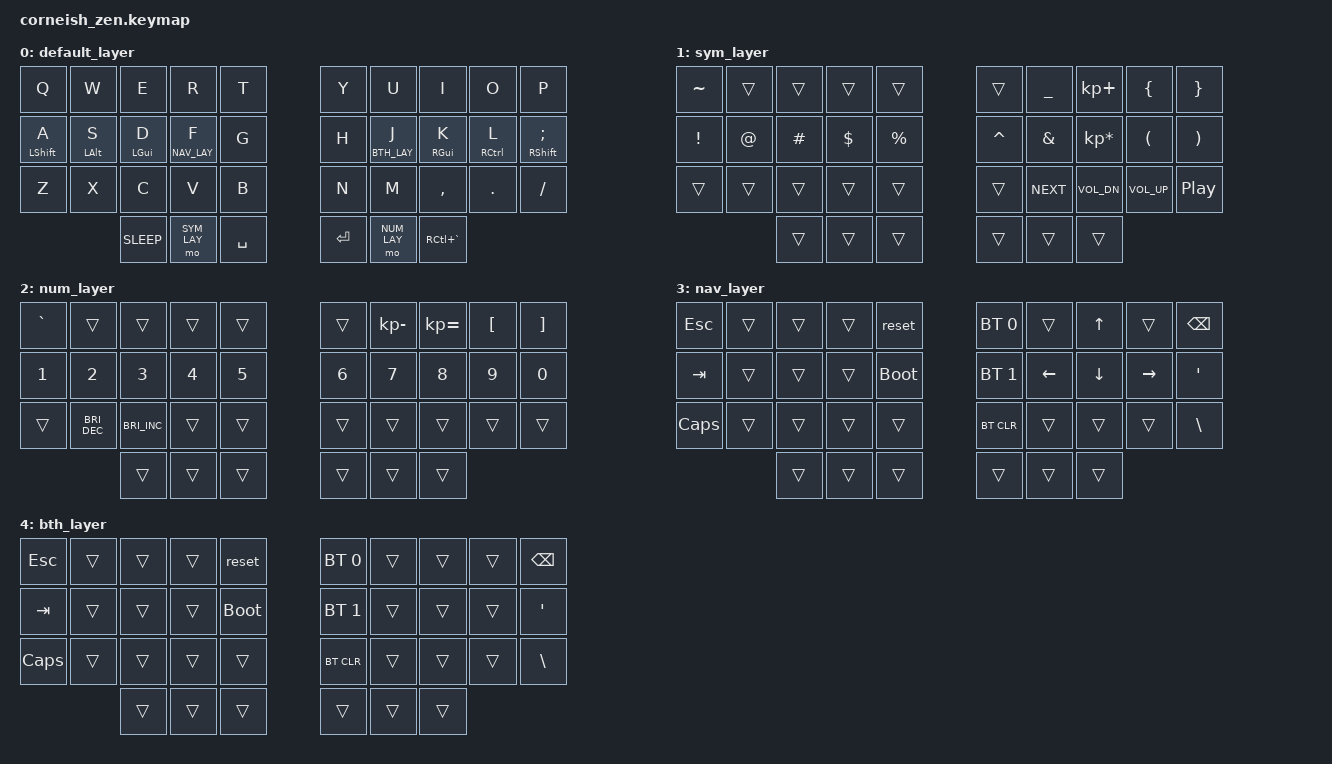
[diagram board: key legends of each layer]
#include <behaviors.dtsi>
#include <dt-bindings/zmk/keys.h>
#include <dt-bindings/zmk/bt.h>

#define SYM_LAY 1
#define NUM_LAY 2
#define NAV_LAY 3
#define BTH_LAY 4

/ {
  chosen {
    //zmk,matrix_transform = &default_transform;
    zmk,matrix_transform = &five_column_transform;
  };
};

/ {
        behaviors {
                hm: homerow_mods {
                compatible = "zmk,behavior-hold-tap";
                label = "HOMEROW_MODS";
                #binding-cells = <2>;
                tapping-term-ms = <150>;
                quick_tap_ms = <0>;
                flavor = "tap-preferred";
                bindings = <&kp>, <&kp>;
                };
        };
        keymap {
                compatible = "zmk,keymap";

                default_layer {
// ,-----------------------------.   ,-----------------------------.
// |  Q  |  W  |  E  |  R  |  T  |   |  Y  |  U  |  I  |  O  |  P  |
// |-----+-----+-----+-----+-----|   |-----+-----+-----+-----+-----|
// |  A  |  S  |  D  |  F  |  G  |   |  H  |  J  |  K  |  L  |  ;  |
// |-----+-----+-----+-----+-----|   |-----+-----+-----+-----+-----|
// |  Z  |  X  |  C  |  V  |  B  |   |  N  |  M  |  ,  |  .  |  /  |
// |-----+-----+-----+-----+-----|   |-----+-----+-----+-----+-----'
//             |SLEEP| SYM | SPC |   | ENT | NUM |CTL `|
//             `-----------------'   `-----------------'
// Holding
// ,-----------------------------.   ,-----------------------------.
// |     |     |     |     |     |   |     |     |     |     |     |
// |-----+-----+-----+-----+-----|   |-----+-----+-----+-----+-----|
// |SHIFT| ALT | GUI | NAV |     |   |     | BTH | GUI | CTRL|SHIFT|
// |-----+-----+-----+-----+-----|   |-----+-----+-----+-----+-----|
// |     |     |     |     |     |   |     |     |     |     |     |
// |-----+-----+-----+-----+-----|   |-----+-----+-----+-----+-----'
//             |     |     |     |   |     |     |     |
//             `-----------------'   `-----------------'
                        bindings = <
   &kp Q        &kp W      &kp E       &kp R         &kp T        &kp Y     &kp U         &kp I         &kp O       &kp P
   &hm LSHIFT A &hm LALT S &hm LGUI D  &lt NAV_LAY F &kp G        &kp H     &lt BTH_LAY J &hm RGUI K    &hm RCTRL L &hm RSHIFT SEMI
   &kp Z        &kp X      &kp C       &kp V         &kp B        &kp N     &kp M         &kp COMMA     &kp DOT     &kp FSLH
                           &kp C_SLEEP &mo SYM_LAY   &kp SPACE    &kp ENTER &mo NUM_LAY   &kp RC(GRAVE)
                        >;
                };

                sym_layer {
// ,-----------------------------.   ,-----------------------------.
// |  ~  |     |     |     |     |   |     |  _  |  +  |  {  |  }  |
// |-----+-----+-----+-----+-----|   |-----+-----+-----+-----+-----|
// |  !  |  @  |  #  |  $  |  %  |   |  ^  |  &  |  *  |  (  |  )  |
// |-----+-----+-----+-----+-----|   |-----+-----+-----+-----+-----|
// |     |     |     |     |     |   |     | NEXT| VOL-| VOL+| PLAY|
// |-----+-----+-----+-----+-----|   |-----+-----+-----+-----+-----'
//             |     |     |     |   |     |     |     |
//             `-----------------'   `-----------------'
                        bindings = <
   &kp TILDE &trans &trans   &trans   &trans       &trans    &kp UNDER  &kp KP_PLUS     &kp LBRC     &kp RBRC
   &kp EXCL  &kp AT &kp HASH &kp DLLR &kp PRCNT    &kp CARET &kp AMPS   &kp KP_MULTIPLY &kp LPAR     &kp RPAR
   &trans    &trans &trans   &trans   &trans       &trans    &kp C_NEXT &kp C_VOL_DN    &kp C_VOL_UP &kp C_PLAY_PAUSE
                    &trans   &trans   &trans       &trans    &trans     &trans
                        >;
                };

                num_layer {
// ,-----------------------------.   ,-----------------------------.
// |  `  |     |     |     |     |   |     |  -  |  =  |  [  |  ]  |
// |-----+-----+-----+-----+-----|   |-----+-----+-----+-----+-----|
// |  1  |  2  |  3  |  4  |  5  |   |  6  |  7  |  8  |  9  |  0  |
// |-----+-----+-----+-----+-----|   |-----+-----+-----+-----+-----|
// |     |BRIG-|BRIG+|     |     |   |     |     |     |     |     |
// |-----+-----+-----+-----+-----|   |-----+-----+-----+-----+-----'
//             |     |     |     |   |     |     |     |
//             `-----------------'   `-----------------'
                        bindings = <
   &kp GRAVE &trans        &trans        &trans &trans    &trans &kp KP_MINUS &kp KP_EQUAL  &kp LBKT      &kp RBKT
   &kp N1    &kp N2        &kp N3        &kp N4 &kp N5    &kp N6 &kp N7       &kp N8        &kp N9        &kp N0
   &trans    &kp C_BRI_DEC &kp C_BRI_INC &trans &trans    &trans &trans       &trans        &trans        &trans
                           &trans        &trans &trans    &trans &trans       &trans
                        >;
                };

                nav_layer {
// ,-----------------------------.   ,-----------------------------.
// | ESC |     |     |     |RESET|   |BTH 0|     |  UP |     | BSPC|
// |-----+-----+-----+-----+-----|   |-----+-----+-----+-----+-----|
// | TAB |     |     |     |BOOTL|   |BTH 1| LEFT| DOWN|RIGHT|  '  |
// |-----+-----+-----+-----+-----|   |-----+-----+-----+-----+-----|
// | CAPS|     |     |     |     |   |BT CL|     |     |     |  \  |
// |-----+-----+-----+-----+-----|   |-----+-----+-----+-----+-----'
//             |     |     |     |   |     |     |     |
//             `-----------------'   `-----------------'
                        bindings = <
   &kp ESC  &trans &trans &trans &reset         &bt BT_SEL 0 &trans   &kp UP   &trans    &kp BSPC
   &kp TAB  &trans &trans &trans &bootloader    &bt BT_SEL 1 &kp LEFT &kp DOWN &kp RIGHT &kp APOS
   &kp CAPS &trans &trans &trans &trans         &bt BT_CLR   &trans   &trans   &trans    &kp BSLH
                   &trans &trans &trans         &trans       &trans   &trans
                        >;
                };

                bth_layer {
// ,-----------------------------.   ,-----------------------------.
// | ESC |     |     |     |RESET|   |BTH 0|     |     |     | BSPC|
// |-----+-----+-----+-----+-----|   |-----+-----+-----+-----+-----|
// | TAB |     |     |     |BOOTL|   |BTH 1|     |     |     |  '  |
// |-----+-----+-----+-----+-----|   |-----+-----+-----+-----+-----|
// | CAPS|     |     |     |     |   |BT CL|     |     |     |  \  |
// |-----+-----+-----+-----+-----|   |-----+-----+-----+-----+-----'
//             |     |     |     |   |     |     |     |
//             `-----------------'   `-----------------'
                        bindings = <
   &kp ESC  &trans &trans &trans &reset         &bt BT_SEL 0 &trans &trans &trans &kp BSPC
   &kp TAB  &trans &trans &trans &bootloader    &bt BT_SEL 1 &trans &trans &trans &kp APOS
   &kp CAPS &trans &trans &trans &trans         &bt BT_CLR   &trans &trans &trans &kp BSLH
                   &trans &trans &trans         &trans       &trans &trans
                        >;
                };
        };
};
